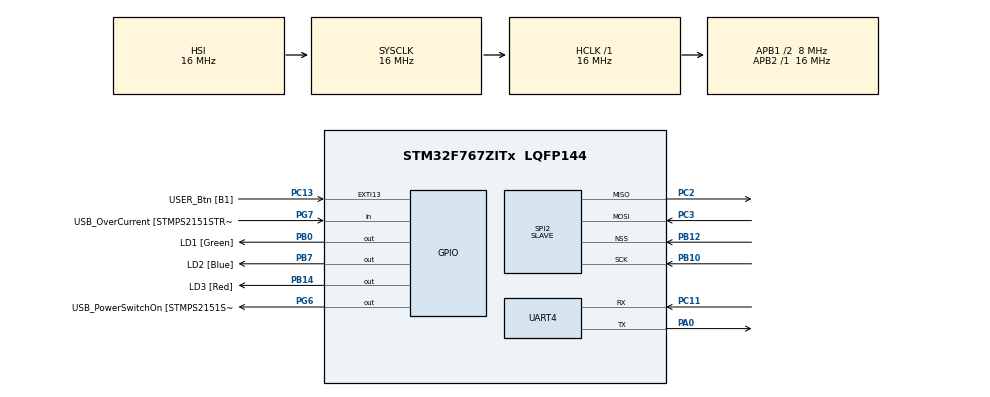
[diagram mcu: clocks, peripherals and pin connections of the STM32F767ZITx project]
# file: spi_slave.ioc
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Dma.Request0=SPI2_RX
Dma.Request1=SPI2_TX
Dma.SPI2_RX.0.Direction=DMA_PERIPH_TO_MEMORY
Dma.SPI2_RX.0.FIFOMode=DMA_FIFOMODE_DISABLE
Dma.SPI2_RX.0.Instance=DMA1_Stream1
Dma.SPI2_RX.0.MemDataAlignment=DMA_MDATAALIGN_BYTE
Dma.SPI2_RX.0.MemInc=DMA_MINC_ENABLE
Dma.SPI2_RX.0.Mode=DMA_NORMAL
Dma.SPI2_RX.0.PeriphDataAlignment=DMA_PDATAALIGN_BYTE
Dma.SPI2_RX.0.PeriphInc=DMA_PINC_DISABLE
Dma.SPI2_RX.0.Priority=DMA_PRIORITY_LOW
Dma.SPI2_TX.1.Direction=DMA_MEMORY_TO_PERIPH
Dma.SPI2_TX.1.FIFOMode=DMA_FIFOMODE_DISABLE
Dma.SPI2_TX.1.Instance=DMA1_Stream4
Dma.SPI2_TX.1.MemDataAlignment=DMA_MDATAALIGN_BYTE
Dma.SPI2_TX.1.MemInc=DMA_MINC_ENABLE
Dma.SPI2_TX.1.Mode=DMA_NORMAL
Dma.SPI2_TX.1.PeriphDataAlignment=DMA_PDATAALIGN_BYTE
Dma.SPI2_TX.1.PeriphInc=DMA_PINC_DISABLE
Dma.SPI2_TX.1.Priority=DMA_PRIORITY_LOW
Mcu.Family=STM32F7
Mcu.Name=STM32F767ZITx
Mcu.Package=LQFP144
NVIC.DMA1_Stream1_IRQn=true\:0\:0\:false\:false\:true\:false\:true\:true
NVIC.DMA1_Stream4_IRQn=true\:0\:0\:false\:false\:true\:false\:true\:true
NVIC.PriorityGroup=NVIC_PRIORITYGROUP_4
NVIC.SPI2_IRQn=true\:0\:0\:false\:false\:true\:true\:true\:true
NVIC.UART4_IRQn=true\:0\:0\:false\:false\:true\:true\:true\:true
PA0/WKUP.Mode=Asynchronous
PA0/WKUP.Signal=UART4_TX
PA1.GPIO_Label=RMII_REF_CLK [LAN8742A-CZ-TR_REFCLK0]
PA1.Signal=ETH_REF_CLK
PA10.GPIO_Label=USB_ID
PA10.Signal=USB_OTG_FS_ID
PA11.GPIO_Label=USB_DM
PA11.Signal=USB_OTG_FS_DM
PA12.GPIO_Label=USB_DP
PA12.Signal=USB_OTG_FS_DP
PA13.GPIO_Label=TMS
PA13.Signal=SYS_JTMS-SWDIO
PA14.GPIO_Label=TCK
PA14.Signal=SYS_JTCK-SWCLK
PA2.GPIO_Label=RMII_MDIO [LAN8742A-CZ-TR_MDIO]
PA2.Signal=ETH_MDIO
PA7.GPIO_Label=RMII_CRS_DV [LAN8742A-CZ-TR_CRS_DV]
PA7.Signal=ETH_CRS_DV
PA8.GPIO_Label=USB_SOF [TP1]
PA8.Signal=USB_OTG_FS_SOF
PA9.GPIO_Label=USB_VBUS
PA9.Signal=USB_OTG_FS_VBUS
PB0.GPIO_Label=LD1 [Green]
PB0.Signal=GPIO_Output
PB10.Mode=Full_Duplex_Slave
PB10.Signal=SPI2_SCK
PB12.Mode=NSS_Signal_Hard_Input
PB12.Signal=SPI2_NSS
PB13.GPIO_Label=RMII_TXD1 [LAN8742A-CZ-TR_TXD1]
PB13.Signal=ETH_TXD1
PB14.GPIO_Label=LD3 [Red]
PB14.Signal=GPIO_Output
PB3.GPIO_Label=SW0
PB3.Signal=SYS_JTDO-SWO
PB7.GPIO_Label=LD2 [Blue]
PB7.Signal=GPIO_Output
PC1.GPIO_Label=RMII_MDC [LAN8742A-CZ-TR_MDC]
PC1.Signal=ETH_MDC
PC11.Mode=Asynchronous
PC11.Signal=UART4_RX
PC13.GPIO_Label=USER_Btn [B1]
PC13.Signal=GPXTI13
PC14/OSC32_IN.Signal=RCC_OSC32_IN
PC15/OSC32_OUT.Signal=RCC_OSC32_OUT
PC2.Mode=Full_Duplex_Slave
PC2.Signal=SPI2_MISO
PC3.Mode=Full_Duplex_Slave
PC3.Signal=SPI2_MOSI
PC4.GPIO_Label=RMII_RXD0 [LAN8742A-CZ-TR_RXD0]
PC4.Signal=ETH_RXD0
PC5.GPIO_Label=RMII_RXD1 [LAN8742A-CZ-TR_RXD1]
PC5.Signal=ETH_RXD1
PD8.GPIO_Label=STLK_RX [STM32F103CBT6_PA3]
PD8.Signal=USART3_TX
PD9.GPIO_Label=STLK_TX [STM32F103CBT6_PA2]
PD9.Signal=USART3_RX
PG11.GPIO_Label=RMII_TX_EN [LAN8742A-CZ-TR_TXEN]
PG11.Signal=ETH_TX_EN
PG13.GPIO_Label=RMII_TXD0 [LAN8742A-CZ-TR_TXD0]
PG13.Signal=ETH_TXD0
PG6.GPIO_Label=USB_PowerSwitchOn [STMPS2151STR_EN]
PG6.Signal=GPIO_Output
PG7.GPIO_Label=USB_OverCurrent [STMPS2151STR_FAULT]
PG7.Signal=GPIO_Input
PH0/OSC_IN.GPIO_Label=MCO [STM32F103CBT6_PA8]
PH0/OSC_IN.Signal=RCC_OSC_IN
PH1/OSC_OUT.Signal=RCC_OSC_OUT
ProjectManager.HeapSize=0x200
ProjectManager.StackSize=0x400
ProjectManager.TargetToolchain=STM32CubeIDE
RCC.48MHZClocksFreq_Value=24000000
RCC.AHBFreq_Value=16000000
RCC.APB1CLKDivider=RCC_HCLK_DIV2
RCC.APB1Freq_Value=8000000
RCC.APB1TimFreq_Value=16000000
RCC.APB2Freq_Value=16000000
RCC.APB2TimFreq_Value=16000000
RCC.CortexFreq_Value=16000000
RCC.HCLKFreq_Value=16000000
RCC.HSE_VALUE=16000000
RCC.HSI_VALUE=16000000
RCC.LSE_VALUE=32768
RCC.PLLMUL=RCC_PLL_MUL9
RCC.PRESCALERUSB=RCC_USBCLKSOURCE_PLL_DIV1_5
RCC.SYSCLKFreq_VALUE=16000000
RCC.SYSCLKSourceVirtual=RCC_SYSCLKSOURCE_PLLCLK
RCC.USBFreq_Value=96000000
RCC.VCOOutputFreq_Value=192000000
SPI2.DataSize=SPI_DATASIZE_8BIT
SPI2.Direction=SPI_DIRECTION_2LINES
SPI2.Mode=SPI_MODE_SLAVE
SPI2.VirtualNSS=VM_NSSHARD
SPI2.VirtualType=VM_SLAVE
board=NUCLEO-F767ZI

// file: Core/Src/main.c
/* USER CODE BEGIN Header */
/**
  ******************************************************************************
  * @file           : main.c
  * @brief          : Main program body
  ******************************************************************************
  * @attention
  *
  * Copyright (c) 2024 STMicroelectronics.
  * All rights reserved.
  *
  * This software is licensed under terms that can be found in the LICENSE file
  * in the root directory of this software component.
  * If no LICENSE file comes with this software, it is provided AS-IS.
  *
  ******************************************************************************
  */
/* USER CODE END Header */
#include "main.h"

/* USER CODE BEGIN Includes */
#include "strings.h"
/* USER CODE END Includes */

SPI_HandleTypeDef hspi2;
DMA_HandleTypeDef hdma_spi2_rx;
DMA_HandleTypeDef hdma_spi2_tx;

UART_HandleTypeDef huart4;

void SystemClock_Config(void);
static void MX_GPIO_Init(void);
static void MX_DMA_Init(void);
static void MX_SPI2_Init(void);
static void MX_UART4_Init(void);

/* USER CODE BEGIN 0 */
#define TRANSFER_SIZE 64

uint8_t transfer_bytes[TRANSFER_SIZE] = {0};
uint8_t receive_queued = 0;
uint8_t rcpts = 65;

void HAL_SPI_RxCpltCallback(SPI_HandleTypeDef *hspi)
{
	//HAL_SPI_Receive_IT(&hspi2, transfer_bytes, TRANSFER_SIZE);
	HAL_GPIO_TogglePin(GPIOB, GPIO_PIN_14);
	receive_queued = 1;
	rcpts += 1;

}
void HAL_SPI_TxCpltCallback(SPI_HandleTypeDef *hspi)
{
	HAL_SPI_Receive_DMA(&hspi2, transfer_bytes, TRANSFER_SIZE);

}

/* USER CODE END 0 */

int main(void)
{

  /* MCU Configuration--------------------------------------------------------*/

  /* Reset of all peripherals, Initializes the Flash interface and the Systick. */
  HAL_Init();

  /* Configure the system clock */
  SystemClock_Config();

  /* Initialize all configured peripherals */
  MX_GPIO_Init();
  MX_DMA_Init();
  MX_SPI2_Init();
  MX_UART4_Init();
  /* USER CODE BEGIN 2 */

  HAL_SPI_Receive_DMA(&hspi2, transfer_bytes, TRANSFER_SIZE);

  /* USER CODE END 2 */

  /* Infinite loop */
  /* USER CODE BEGIN WHILE */
  while (1)
  {

	  if (receive_queued == 1){

		  HAL_UART_Transmit_IT(&huart4, transfer_bytes, TRANSFER_SIZE);
		  //HAL_UART_Transmit_IT(&huart4, &rcpts, 1);
		  /*
		  if (HAL_SPI_Transmit(&hspi2, transfer_bytes, TRANSFER_SIZE, 1000) != HAL_OK){
			  HAL_GPIO_TogglePin(GPIOB, GPIO_PIN_0);
		  } */

		  for(uint8_t i = 0; i < TRANSFER_SIZE; i++){
			  transfer_bytes[i] += 1;
		  }

		  HAL_SPI_Transmit_DMA(&hspi2, transfer_bytes, TRANSFER_SIZE);

		  receive_queued = 0;
	  }
	  //HAL_Delay(1000);
	  //HAL_SPI_Transmit(&hspi2, transfer_bytes, TRANSFER_SIZE, 500);
	  //HAL_UART_Transmit_IT(&huart4, transfer_bytes, TRANSFER_SIZE);
	  //

    /* USER CODE END WHILE */

  }
}

void SystemClock_Config(void)
{
  RCC_OscInitTypeDef RCC_OscInitStruct = {0};
  RCC_ClkInitTypeDef RCC_ClkInitStruct = {0};

  /** Configure the main internal regulator output voltage
  */
  __HAL_RCC_PWR_CLK_ENABLE();
  __HAL_PWR_VOLTAGESCALING_CONFIG(PWR_REGULATOR_VOLTAGE_SCALE3);

  /** Initializes the RCC Oscillators according to the specified parameters
  * in the RCC_OscInitTypeDef structure.
  */
  RCC_OscInitStruct.OscillatorType = RCC_OSCILLATORTYPE_HSI;
  RCC_OscInitStruct.HSIState = RCC_HSI_ON;
  RCC_OscInitStruct.HSICalibrationValue = RCC_HSICALIBRATION_DEFAULT;
  RCC_OscInitStruct.PLL.PLLState = RCC_PLL_NONE;
  if (HAL_RCC_OscConfig(&RCC_OscInitStruct) != HAL_OK)
  {
    Error_Handler();
  }

  /** Initializes the CPU, AHB and APB buses clocks
  */
  RCC_ClkInitStruct.ClockType = RCC_CLOCKTYPE_HCLK|RCC_CLOCKTYPE_SYSCLK
                              |RCC_CLOCKTYPE_PCLK1|RCC_CLOCKTYPE_PCLK2;
  RCC_ClkInitStruct.SYSCLKSource = RCC_SYSCLKSOURCE_HSI;
  RCC_ClkInitStruct.AHBCLKDivider = RCC_SYSCLK_DIV1;
  RCC_ClkInitStruct.APB1CLKDivider = RCC_HCLK_DIV2;
  RCC_ClkInitStruct.APB2CLKDivider = RCC_HCLK_DIV1;

  if (HAL_RCC_ClockConfig(&RCC_ClkInitStruct, FLASH_LATENCY_0) != HAL_OK)
  {
    Error_Handler();
  }
}

static void MX_SPI2_Init(void)
{

  /* SPI2 parameter configuration*/
  hspi2.Instance = SPI2;
  hspi2.Init.Mode = SPI_MODE_SLAVE;
  hspi2.Init.Direction = SPI_DIRECTION_2LINES;
  hspi2.Init.DataSize = SPI_DATASIZE_8BIT;
  hspi2.Init.CLKPolarity = SPI_POLARITY_LOW;
  hspi2.Init.CLKPhase = SPI_PHASE_1EDGE;
  hspi2.Init.NSS = SPI_NSS_HARD_INPUT;
  hspi2.Init.FirstBit = SPI_FIRSTBIT_MSB;
  hspi2.Init.TIMode = SPI_TIMODE_DISABLE;
  hspi2.Init.CRCCalculation = SPI_CRCCALCULATION_DISABLE;
  hspi2.Init.CRCPolynomial = 7;
  hspi2.Init.CRCLength = SPI_CRC_LENGTH_DATASIZE;
  hspi2.Init.NSSPMode = SPI_NSS_PULSE_DISABLE;
  if (HAL_SPI_Init(&hspi2) != HAL_OK)
  {
    Error_Handler();
  }

}

static void MX_UART4_Init(void)
{

  huart4.Instance = UART4;
  huart4.Init.BaudRate = 115200;
  huart4.Init.WordLength = UART_WORDLENGTH_8B;
  huart4.Init.StopBits = UART_STOPBITS_1;
  huart4.Init.Parity = UART_PARITY_NONE;
  huart4.Init.Mode = UART_MODE_TX_RX;
  huart4.Init.HwFlowCtl = UART_HWCONTROL_NONE;
  huart4.Init.OverSampling = UART_OVERSAMPLING_16;
  huart4.Init.OneBitSampling = UART_ONE_BIT_SAMPLE_DISABLE;
  huart4.AdvancedInit.AdvFeatureInit = UART_ADVFEATURE_NO_INIT;
  if (HAL_UART_Init(&huart4) != HAL_OK)
  {
    Error_Handler();
  }

}

static void MX_DMA_Init(void)
{

  /* DMA controller clock enable */
  __HAL_RCC_DMA1_CLK_ENABLE();

  /* DMA interrupt init */
  /* DMA1_Stream1_IRQn interrupt configuration */
  HAL_NVIC_SetPriority(DMA1_Stream1_IRQn, 0, 0);
  HAL_NVIC_EnableIRQ(DMA1_Stream1_IRQn);
  /* DMA1_Stream4_IRQn interrupt configuration */
  HAL_NVIC_SetPriority(DMA1_Stream4_IRQn, 0, 0);
  HAL_NVIC_EnableIRQ(DMA1_Stream4_IRQn);

}

static void MX_GPIO_Init(void)
{
  GPIO_InitTypeDef GPIO_InitStruct = {0};

  /* GPIO Ports Clock Enable */
  __HAL_RCC_GPIOC_CLK_ENABLE();
  __HAL_RCC_GPIOH_CLK_ENABLE();
  __HAL_RCC_GPIOA_CLK_ENABLE();
  __HAL_RCC_GPIOB_CLK_ENABLE();
  __HAL_RCC_GPIOD_CLK_ENABLE();
  __HAL_RCC_GPIOG_CLK_ENABLE();

  /*Configure GPIO pin Output Level */
  HAL_GPIO_WritePin(GPIOB, LD1_Pin|LD3_Pin|LD2_Pin, GPIO_PIN_RESET);

  /*Configure GPIO pin Output Level */
  HAL_GPIO_WritePin(USB_PowerSwitchOn_GPIO_Port, USB_PowerSwitchOn_Pin, GPIO_PIN_RESET);

  /*Configure GPIO pin : USER_Btn_Pin */
  GPIO_InitStruct.Pin = USER_Btn_Pin;
  GPIO_InitStruct.Mode = GPIO_MODE_IT_RISING;
  GPIO_InitStruct.Pull = GPIO_NOPULL;
  HAL_GPIO_Init(USER_Btn_GPIO_Port, &GPIO_InitStruct);

  /*Configure GPIO pins : RMII_MDC_Pin RMII_RXD0_Pin RMII_RXD1_Pin */
  GPIO_InitStruct.Pin = RMII_MDC_Pin|RMII_RXD0_Pin|RMII_RXD1_Pin;
  GPIO_InitStruct.Mode = GPIO_MODE_AF_PP;
  GPIO_InitStruct.Pull = GPIO_NOPULL;
  GPIO_InitStruct.Speed = GPIO_SPEED_FREQ_VERY_HIGH;
  GPIO_InitStruct.Alternate = GPIO_AF11_ETH;
  HAL_GPIO_Init(GPIOC, &GPIO_InitStruct);

  /*Configure GPIO pins : RMII_REF_CLK_Pin RMII_MDIO_Pin RMII_CRS_DV_Pin */
  GPIO_InitStruct.Pin = RMII_REF_CLK_Pin|RMII_MDIO_Pin|RMII_CRS_DV_Pin;
  GPIO_InitStruct.Mode = GPIO_MODE_AF_PP;
  GPIO_InitStruct.Pull = GPIO_NOPULL;
  GPIO_InitStruct.Speed = GPIO_SPEED_FREQ_VERY_HIGH;
  GPIO_InitStruct.Alternate = GPIO_AF11_ETH;
  HAL_GPIO_Init(GPIOA, &GPIO_InitStruct);

  /*Configure GPIO pins : LD1_Pin LD3_Pin LD2_Pin */
  GPIO_InitStruct.Pin = LD1_Pin|LD3_Pin|LD2_Pin;
  GPIO_InitStruct.Mode = GPIO_MODE_OUTPUT_PP;
  GPIO_InitStruct.Pull = GPIO_NOPULL;
  GPIO_InitStruct.Speed = GPIO_SPEED_FREQ_LOW;
  HAL_GPIO_Init(GPIOB, &GPIO_InitStruct);

  /*Configure GPIO pin : RMII_TXD1_Pin */
  GPIO_InitStruct.Pin = RMII_TXD1_Pin;
  GPIO_InitStruct.Mode = GPIO_MODE_AF_PP;
  GPIO_InitStruct.Pull = GPIO_NOPULL;
  GPIO_InitStruct.Speed = GPIO_SPEED_FREQ_VERY_HIGH;
  GPIO_InitStruct.Alternate = GPIO_AF11_ETH;
  HAL_GPIO_Init(RMII_TXD1_GPIO_Port, &GPIO_InitStruct);

  /*Configure GPIO pins : STLK_RX_Pin STLK_TX_Pin */
  GPIO_InitStruct.Pin = STLK_RX_Pin|STLK_TX_Pin;
  GPIO_InitStruct.Mode = GPIO_MODE_AF_PP;
  GPIO_InitStruct.Pull = GPIO_NOPULL;
  GPIO_InitStruct.Speed = GPIO_SPEED_FREQ_VERY_HIGH;
  GPIO_InitStruct.Alternate = GPIO_AF7_USART3;
  HAL_GPIO_Init(GPIOD, &GPIO_InitStruct);

  /*Configure GPIO pin : USB_PowerSwitchOn_Pin */
  GPIO_InitStruct.Pin = USB_PowerSwitchOn_Pin;
  GPIO_InitStruct.Mode = GPIO_MODE_OUTPUT_PP;
  GPIO_InitStruct.Pull = GPIO_NOPULL;
  GPIO_InitStruct.Speed = GPIO_SPEED_FREQ_LOW;
  HAL_GPIO_Init(USB_PowerSwitchOn_GPIO_Port, &GPIO_InitStruct);

  /*Configure GPIO pin : USB_OverCurrent_Pin */
  GPIO_InitStruct.Pin = USB_OverCurrent_Pin;
  GPIO_InitStruct.Mode = GPIO_MODE_INPUT;
  GPIO_InitStruct.Pull = GPIO_NOPULL;
  HAL_GPIO_Init(USB_OverCurrent_GPIO_Port, &GPIO_InitStruct);

  /*Configure GPIO pins : USB_SOF_Pin USB_ID_Pin USB_DM_Pin USB_DP_Pin */
  GPIO_InitStruct.Pin = USB_SOF_Pin|USB_ID_Pin|USB_DM_Pin|USB_DP_Pin;
  GPIO_InitStruct.Mode = GPIO_MODE_AF_PP;
  GPIO_InitStruct.Pull = GPIO_NOPULL;
  GPIO_InitStruct.Speed = GPIO_SPEED_FREQ_VERY_HIGH;
  GPIO_InitStruct.Alternate = GPIO_AF10_OTG_FS;
  HAL_GPIO_Init(GPIOA, &GPIO_InitStruct);

  /*Configure GPIO pin : USB_VBUS_Pin */
  GPIO_InitStruct.Pin = USB_VBUS_Pin;
  GPIO_InitStruct.Mode = GPIO_MODE_INPUT;
  GPIO_InitStruct.Pull = GPIO_NOPULL;
  HAL_GPIO_Init(USB_VBUS_GPIO_Port, &GPIO_InitStruct);

  /*Configure GPIO pins : RMII_TX_EN_Pin RMII_TXD0_Pin */
  GPIO_InitStruct.Pin = RMII_TX_EN_Pin|RMII_TXD0_Pin;
  GPIO_InitStruct.Mode = GPIO_MODE_AF_PP;
  GPIO_InitStruct.Pull = GPIO_NOPULL;
  GPIO_InitStruct.Speed = GPIO_SPEED_FREQ_VERY_HIGH;
  GPIO_InitStruct.Alternate = GPIO_AF11_ETH;
  HAL_GPIO_Init(GPIOG, &GPIO_InitStruct);

}

void Error_Handler(void)
{
  __disable_irq();
  while (1)
  {
  }
}
